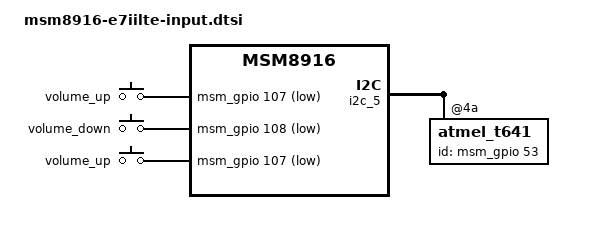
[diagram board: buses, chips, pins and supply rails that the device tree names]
/* Copyright (c) 2012, Code Aurora Forum. All rights reserved.
 *
 * This program is free software; you can redistribute it and/or modify
 * it under the terms of the GNU General Public License version 2 and
 * only version 2 as published by the Free Software Foundation.
 *
 * This program is distributed in the hope that it will be useful,
 * but WITHOUT ANY WARRANTY; without even the implied warranty of
 * MERCHANTABILITY or FITNESS FOR A PARTICULAR PURPOSE.  See the
 * GNU General Public License for more details.
 */
&i2c_5 { /* BLSP1 QUP5 */
	qcom,clk-freq-out = <400000>;
	atmel_t641@4a {                                 /*touch ic I2C bus adddress*/
		revision = "rev_a...";                      /*board version */
		status = "ok";                              /*OK-used*/

		atmel,fw_name = "atmel/LK430_1_01_06.fw";

		lge,id-gpio = <&msm_gpio 53 0x00>;
		pinctrl-names = "ts_int_active","ts_int_suspend";
		pinctrl-0 = <&ts_int_active>;
		pinctrl-1 = <&ts_int_suspend>;

	};


};

&soc {

	gpio_keys {
		status = "disabled";
	};

	gpio_keys_rev@a {
		status = "ok";
		compatible = "gpio-keys";
		input-name = "gpio-keys";
		pinctrl-names = "tlmm_gpio_key_active","tlmm_gpio_key_suspend";
		pinctrl-0 = <&gpio_key_active>;
		pinctrl-1 = <&gpio_key_suspend>;
		revision = "...rev_a";

		vol_up {
			label = "volume_up";
			gpios = <&msm_gpio 107 0x1>;
			linux,input-type = <1>;
			linux,code = <115>;
			gpio-key,wakeup;
			debounce-interval = <15>;
		};
		vol_down {
			label = "volume_down";
			gpios = <&msm_gpio 108 0x1>;
			linux,input-type = <1>;
			linux,code = <114>;
			gpio-key,wakeup;
			debounce-interval = <15>;
		};
	};

	gpio_keys_rev@b {
		status = "ok";
		compatible = "gpio-keys";
		input-name = "gpio-keys";
		pinctrl-names = "tlmm_gpio_key_active","tlmm_gpio_key_suspend";
		pinctrl-0 = <&gpio_key_active>;
		pinctrl-1 = <&gpio_key_suspend>;
		revision = "rev_b...";

		vol_up {
			label = "volume_up";
			gpios = <&msm_gpio 107 0x1>;
			linux,input-type = <1>;
			linux,code = <115>;
			gpio-key,wakeup;
			debounce-interval = <15>;
		};
	};

};
